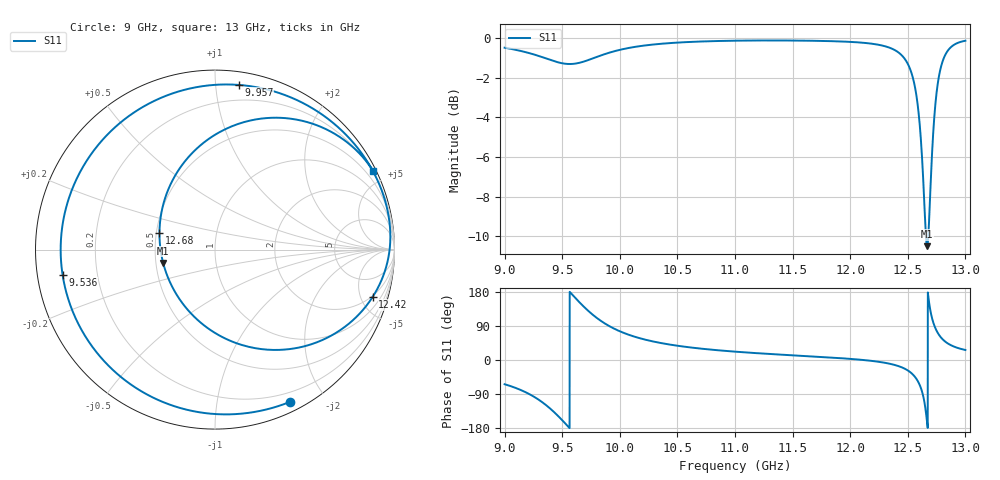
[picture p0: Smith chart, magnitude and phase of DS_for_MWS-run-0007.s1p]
! TOUCHSTONE file generated by CST DESIGN STUDIO
! Date and time: Tue Feb  4 17:42:41 2025
! Project name: C:\Work\MatlabApps\UnitCellOptimizationMatlab\CST\unitcell.cst
! Tree item: Tasks\Sweep1\SPara1\S-Parameters
! Header version: 2024
! Port assignment regex: !\s*Touchstone port\s*([0-9]+)\s*=\s*(CST MWS port|CST DES external port|CST DES block port)\s*(.+)\s* \(\"(.*)\"\)(\s*mode\s*([0-9]+))?.*
! Touchstone port assignment:
! Touchstone port 1 = CST DES external port 1 ("")
# GHz S MA R 50
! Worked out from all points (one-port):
!   4001 points, 9 GHz to 13 GHz, reference 50 ohm
!   lowest |S11| = -10.5 dB at 12.67 GHz (marker M1), VSWR 1.85, Z = 27.3 - j4.45 ohm
!   |S11| at or under -10 dB: 12.65767 GHz to 12.67802 GHz (20.35 MHz wide, 0.161 % of centre)
!   S11 on the Smith chart (normalised r, x): 9 GHz: 0.10, -1.60; 9.536 GHz: 0.08, -0.08; 9.957 GHz: 0.09, +1.15; 12.42 GHz: 1.90, -6.28; 12.68 GHz: 0.52, +0.11; 13 GHz: 0.15, +4.26
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9  0.9454 -63.9
9.151  0.9262 -80.6
9.301  0.9002 -105.9
9.401  0.8798 -129.6
9.5  0.8636 -158.9
9.536  0.8607 -170.6
9.629  0.8635 158.8
9.744  0.8837 124.9
9.84  0.9047 102.3
9.957  0.927 81.8
10  0.9337 75.8
10.215  0.9576 54.1
10.5  0.9739 37.7
11  0.9848 22.0
11.5  0.9856 12.4
12  0.978 3.0
12.424  0.9174 -16.6
12.5  0.8607 -27.5
12.558  0.7629 -43.0
12.607  0.5883 -68.6
12.637  0.4206 -99.6
12.668  0.2983 -165.6
12.68  0.3236 163.0
12.722  0.5849 98.2
12.763  0.7772 70.1
12.805  0.8782 53.9
12.854  0.9348 42.4
13  0.9845 26.4
